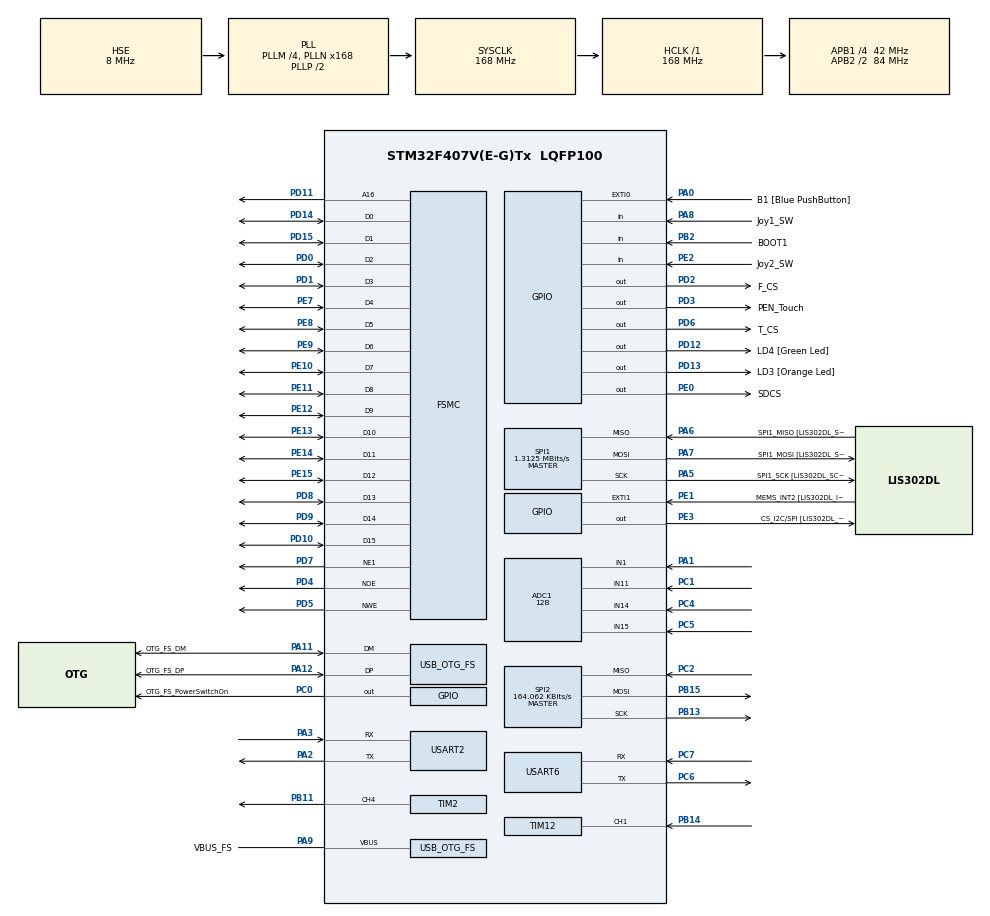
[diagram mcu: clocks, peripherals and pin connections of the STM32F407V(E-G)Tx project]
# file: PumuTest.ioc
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ADC1.Channel-0\#ChannelRegularConversion=ADC_CHANNEL_1
ADC1.Channel-1\#ChannelRegularConversion=ADC_CHANNEL_11
ADC1.Channel-2\#ChannelRegularConversion=ADC_CHANNEL_14
ADC1.Channel-3\#ChannelRegularConversion=ADC_CHANNEL_15
ADC1.ClockPrescaler=ADC_CLOCK_SYNC_PCLK_DIV4
ADC1.ContinuousConvMode=DISABLE
ADC1.DMAContinuousRequests=ENABLE
ADC1.DataAlign=ADC_DATAALIGN_RIGHT
ADC1.DiscontinuousConvMode=DISABLE
ADC1.EOCSelection=ADC_EOC_SEQ_CONV
ADC1.EnableAnalogWatchDog=false
ADC1.ExternalTrigConv=ADC_SOFTWARE_START
ADC1.ExternalTrigConvEdge=ADC_EXTERNALTRIGCONVEDGE_NONE
ADC1.InjNumberOfConversion=0
ADC1.NbrOfConversion=4
ADC1.NbrOfConversionFlag=1
ADC1.Rank-0\#ChannelRegularConversion=1
ADC1.Rank-1\#ChannelRegularConversion=2
ADC1.Rank-2\#ChannelRegularConversion=3
ADC1.Rank-3\#ChannelRegularConversion=4
ADC1.Resolution=ADC_RESOLUTION_12B
ADC1.SamplingTime-0\#ChannelRegularConversion=ADC_SAMPLETIME_3CYCLES
ADC1.SamplingTime-1\#ChannelRegularConversion=ADC_SAMPLETIME_3CYCLES
ADC1.SamplingTime-2\#ChannelRegularConversion=ADC_SAMPLETIME_3CYCLES
ADC1.SamplingTime-3\#ChannelRegularConversion=ADC_SAMPLETIME_3CYCLES
ADC1.ScanConvMode=ENABLE
ADC1.master=1
Dma.ADC1.0.Direction=DMA_PERIPH_TO_MEMORY
Dma.ADC1.0.FIFOMode=DMA_FIFOMODE_ENABLE
Dma.ADC1.0.FIFOThreshold=DMA_FIFO_THRESHOLD_HALFFULL
Dma.ADC1.0.Instance=DMA2_Stream0
Dma.ADC1.0.MemBurst=DMA_MBURST_SINGLE
Dma.ADC1.0.MemDataAlignment=DMA_MDATAALIGN_HALFWORD
Dma.ADC1.0.MemInc=DMA_MINC_ENABLE
Dma.ADC1.0.Mode=DMA_NORMAL
Dma.ADC1.0.PeriphBurst=DMA_PBURST_SINGLE
Dma.ADC1.0.PeriphDataAlignment=DMA_PDATAALIGN_HALFWORD
Dma.ADC1.0.PeriphInc=DMA_PINC_DISABLE
Dma.ADC1.0.Priority=DMA_PRIORITY_MEDIUM
Dma.Request0=ADC1
FATFS._MAX_SS=4096
FSMC.AddressSetupTime1=5
FSMC.BusTurnAroundDuration1=0
FSMC.DataSetupTime1=5
FSMC.ExtendedMode1=FSMC_EXTENDED_MODE_DISABLE
Mcu.Family=STM32F4
Mcu.Name=STM32F407V(E-G)Tx
Mcu.Package=LQFP100
NVIC.DMA2_Stream0_IRQn=true\:0\:0\:false\:false\:true\:false
NVIC.OTG_FS_IRQn=true\:0\:0\:false\:false\:true\:false
NVIC.PriorityGroup=NVIC_PRIORITYGROUP_1
NVIC.TIM3_IRQn=true\:1\:0\:true\:false\:true\:true
NVIC.TIM8_BRK_TIM12_IRQn=true\:0\:2\:true\:false\:true\:true
PA0-WKUP.GPIO_Label=B1 [Blue PushButton]
PA0-WKUP.GPIO_ModeDefaultEXTI=GPIO_MODE_EVT_RISING
PA0-WKUP.GPIO_PuPd=GPIO_NOPULL
PA0-WKUP.Signal=GPXTI0
PA1.Signal=ADCx_IN1
PA10.GPIO_Label=OTG_FS_ID
PA10.GPIO_Mode=GPIO_MODE_AF_PP
PA10.GPIO_PuPd=GPIO_NOPULL
PA10.GPIO_Speed=GPIO_SPEED_FREQ_LOW
PA10.Signal=USB_OTG_FS_ID
PA11.GPIO_Label=OTG_FS_DM
PA11.GPIO_Mode=GPIO_MODE_AF_PP
PA11.GPIO_PuPd=GPIO_NOPULL
PA11.GPIO_Speed=GPIO_SPEED_FREQ_LOW
PA11.Mode=Host_Only
PA11.Signal=USB_OTG_FS_DM
PA12.GPIO_Label=OTG_FS_DP
PA12.GPIO_Mode=GPIO_MODE_AF_PP
PA12.GPIO_PuPd=GPIO_NOPULL
PA12.GPIO_Speed=GPIO_SPEED_FREQ_LOW
PA12.Mode=Host_Only
PA12.Signal=USB_OTG_FS_DP
PA13.GPIO_Label=SWDIO
PA13.Signal=SYS_JTMS-SWDIO
PA14.GPIO_Label=SWCLK
PA14.Signal=SYS_JTCK-SWCLK
PA2.Mode=Asynchronous
PA2.Signal=USART2_TX
PA3.Mode=Asynchronous
PA3.Signal=USART2_RX
PA4.GPIO_Label=I2S3_WS [CS43L22_LRCK]
PA4.GPIO_Mode=GPIO_MODE_AF_PP
PA4.GPIO_PuPd=GPIO_NOPULL
PA4.GPIO_Speed=GPIO_SPEED_FREQ_LOW
PA4.Signal=I2S3_WS
PA5.GPIO_Label=SPI1_SCK [LIS302DL_SCL/SPC]
PA5.GPIO_Mode=GPIO_MODE_AF_PP
PA5.GPIO_PuPd=GPIO_NOPULL
PA5.GPIO_Speed=GPIO_SPEED_FREQ_LOW
PA5.Mode=Full_Duplex_Master
PA5.Signal=SPI1_SCK
PA6.GPIO_Label=SPI1_MISO [LIS302DL_SDO]
PA6.GPIO_Mode=GPIO_MODE_AF_PP
PA6.GPIO_PuPd=GPIO_NOPULL
PA6.GPIO_Speed=GPIO_SPEED_FREQ_LOW
PA6.Mode=Full_Duplex_Master
PA6.Signal=SPI1_MISO
PA7.GPIO_Label=SPI1_MOSI [LIS302DL_SDA/SDI/SDO]
PA7.GPIO_Mode=GPIO_MODE_AF_PP
PA7.GPIO_PuPd=GPIO_NOPULL
PA7.GPIO_Speed=GPIO_SPEED_FREQ_LOW
PA7.Mode=Full_Duplex_Master
PA7.Signal=SPI1_MOSI
PA8.GPIO_Label=Joy1_SW
PA8.Signal=GPIO_Input
PA9.GPIO_Label=VBUS_FS
PA9.GPIO_Mode=GPIO_MODE_INPUT
PA9.GPIO_PuPd=GPIO_NOPULL
PA9.Mode=Activate_VBUS
PA9.Signal=USB_OTG_FS_VBUS
PB10.GPIO_Label=CLK_IN [MP45DT02_CLK]
PB10.GPIO_Mode=GPIO_MODE_AF_PP
PB10.GPIO_PuPd=GPIO_NOPULL
PB10.GPIO_Speed=GPIO_SPEED_FREQ_LOW
PB10.Signal=I2S2_CK
PB11.GPIO_ModeDefaultPP=GPIO_MODE_AF_OD
PB11.GPIO_PuPd=GPIO_NOPULL
PB11.Signal=S_TIM2_CH4
PB13.Mode=Full_Duplex_Master
PB13.Signal=SPI2_SCK
PB14.Signal=S_TIM12_CH1
PB15.Mode=Full_Duplex_Master
PB15.Signal=SPI2_MOSI
PB2.GPIO_Label=BOOT1
PB2.GPIO_Mode=GPIO_MODE_INPUT
PB2.GPIO_PuPd=GPIO_NOPULL
PB2.Signal=GPIO_Input
PB3.GPIO_Label=SWO
PB3.Signal=SYS_JTDO-SWO
PB6.GPIO_Label=Audio_SCL [CS43L22_SCL]
PB6.GPIO_Mode=GPIO_MODE_AF_OD
PB6.GPIO_PuPd=GPIO_NOPULL
PB6.GPIO_Speed=GPIO_SPEED_FREQ_LOW
PB6.Signal=I2C1_SCL
PB9.GPIO_Label=Audio_SDA [CS43L22_SDA]
PB9.GPIO_Mode=GPIO_MODE_AF_OD
PB9.GPIO_PuPd=GPIO_NOPULL
PB9.GPIO_Speed=GPIO_SPEED_FREQ_LOW
PB9.Signal=I2C1_SDA
PC0.GPIO_Label=OTG_FS_PowerSwitchOn
PC0.GPIO_PuPd=GPIO_NOPULL
PC0.GPIO_Speed=GPIO_SPEED_FREQ_LOW
PC0.PinState=GPIO_PIN_RESET
PC0.Signal=GPIO_Output
PC1.Signal=ADCx_IN11
PC10.GPIO_Label=I2S3_SCK [CS43L22_SCLK]
PC10.GPIO_Mode=GPIO_MODE_AF_PP
PC10.GPIO_PuPd=GPIO_NOPULL
PC10.GPIO_Speed=GPIO_SPEED_FREQ_LOW
PC10.Signal=I2S3_CK
PC12.GPIO_Label=I2S3_SD [CS43L22_SDIN]
PC12.GPIO_Mode=GPIO_MODE_AF_PP
PC12.GPIO_PuPd=GPIO_NOPULL
PC12.GPIO_Speed=GPIO_SPEED_FREQ_LOW
PC12.Signal=I2S3_SD
PC14-OSC32_IN.GPIO_Label=PC14-OSC32_IN
PC14-OSC32_IN.Signal=RCC_OSC32_IN
PC15-OSC32_OUT.GPIO_Label=PC15-OSC32_OUT
PC15-OSC32_OUT.Signal=RCC_OSC32_OUT
PC2.Mode=Full_Duplex_Master
PC2.Signal=SPI2_MISO
PC3.GPIO_Label=PDM_OUT [MP45DT02_DOUT]
PC3.GPIO_Mode=GPIO_MODE_AF_PP
PC3.GPIO_PuPd=GPIO_NOPULL
PC3.GPIO_Speed=GPIO_SPEED_FREQ_LOW
PC3.Signal=I2S2_SD
PC4.Signal=ADCx_IN14
PC5.Signal=ADCx_IN15
PC6.Mode=Asynchronous
PC6.Signal=USART6_TX
PC7.Mode=Asynchronous
PC7.Signal=USART6_RX
PD0.GPIO_PuPd=GPIO_NOPULL
PD0.Mode=16b-d1
PD0.Signal=FSMC_D2
PD1.GPIO_PuPd=GPIO_NOPULL
PD1.Mode=16b-d1
PD1.Signal=FSMC_D3
PD10.GPIO_PuPd=GPIO_NOPULL
PD10.Mode=16b-d1
PD10.Signal=FSMC_D15
PD11.GPIO_PuPd=GPIO_NOPULL
PD11.Mode=A16_1
PD11.Signal=FSMC_A16
PD12.GPIO_Label=LD4 [Green Led]
PD12.GPIO_PuPd=GPIO_NOPULL
PD12.GPIO_Speed=GPIO_SPEED_FREQ_LOW
PD12.Signal=GPIO_Output
PD13.GPIO_Label=LD3 [Orange Led]
PD13.GPIO_PuPd=GPIO_NOPULL
PD13.GPIO_Speed=GPIO_SPEED_FREQ_LOW
PD13.Signal=GPIO_Output
PD14.GPIO_PuPd=GPIO_NOPULL
PD14.Mode=16b-d1
PD14.Signal=FSMC_D0
PD15.GPIO_PuPd=GPIO_NOPULL
PD15.Mode=16b-d1
PD15.Signal=FSMC_D1
PD2.GPIO_Label=F_CS
PD2.Signal=GPIO_Output
PD3.GPIO_Label=PEN_Touch
PD3.Signal=GPIO_Output
PD4.GPIO_PuPd=GPIO_NOPULL
PD4.Mode=Lcd1
PD4.Signal=FSMC_NOE
PD5.GPIO_PuPd=GPIO_NOPULL
PD5.Mode=Lcd1
PD5.Signal=FSMC_NWE
PD6.GPIO_Label=T_CS
PD6.Signal=GPIO_Output
PD7.GPIO_PuPd=GPIO_NOPULL
PD7.Mode=NorPsramChipSelect1_1
PD7.Signal=FSMC_NE1
PD8.GPIO_PuPd=GPIO_NOPULL
PD8.Mode=16b-d1
PD8.Signal=FSMC_D13
PD9.GPIO_PuPd=GPIO_NOPULL
PD9.Mode=16b-d1
PD9.Signal=FSMC_D14
PE0.GPIO_Label=SDCS
PE0.Signal=GPIO_Output
PE1.GPIO_Label=MEMS_INT2 [LIS302DL_INT2]
PE1.GPIO_ModeDefaultEXTI=GPIO_MODE_EVT_RISING
PE1.GPIO_PuPd=GPIO_NOPULL
PE1.Signal=GPXTI1
PE10.GPIO_PuPd=GPIO_NOPULL
PE10.Mode=16b-d1
PE10.Signal=FSMC_D7
PE11.GPIO_PuPd=GPIO_NOPULL
PE11.Mode=16b-d1
PE11.Signal=FSMC_D8
PE12.GPIO_PuPd=GPIO_NOPULL
PE12.Mode=16b-d1
PE12.Signal=FSMC_D9
PE13.GPIO_PuPd=GPIO_NOPULL
PE13.Mode=16b-d1
PE13.Signal=FSMC_D10
PE14.GPIO_PuPd=GPIO_NOPULL
PE14.Mode=16b-d1
PE14.Signal=FSMC_D11
PE15.GPIO_PuPd=GPIO_NOPULL
PE15.Mode=16b-d1
PE15.Signal=FSMC_D12
PE2.GPIO_Label=Joy2_SW
PE2.Signal=GPIO_Input
PE3.GPIO_Label=CS_I2C/SPI [LIS302DL_CS_I2C/SPI]
PE3.GPIO_PuPd=GPIO_NOPULL
PE3.GPIO_Speed=GPIO_SPEED_FREQ_LOW
PE3.Signal=GPIO_Output
PE7.GPIO_PuPd=GPIO_NOPULL
PE7.Mode=16b-d1
PE7.Signal=FSMC_D4
PE8.GPIO_PuPd=GPIO_NOPULL
PE8.Mode=16b-d1
PE8.Signal=FSMC_D5
PE9.GPIO_PuPd=GPIO_NOPULL
PE9.Mode=16b-d1
PE9.Signal=FSMC_D6
PH0-OSC_IN.GPIO_Label=PH0-OSC_IN
PH0-OSC_IN.Mode=HSE-External-Oscillator
PH0-OSC_IN.Signal=RCC_OSC_IN
PH1-OSC_OUT.GPIO_Label=PH1-OSC_OUT
PH1-OSC_OUT.Mode=HSE-External-Oscillator
PH1-OSC_OUT.Signal=RCC_OSC_OUT
ProjectManager.HeapSize=0x200
ProjectManager.StackSize=0x400
ProjectManager.TargetToolchain=SW4STM32
RCC.48MHZClocksFreq_Value=48000000
RCC.AHBFreq_Value=168000000
RCC.APB1CLKDivider=RCC_HCLK_DIV4
RCC.APB1Freq_Value=42000000
RCC.APB1TimFreq_Value=84000000
RCC.APB2CLKDivider=RCC_HCLK_DIV2
RCC.APB2Freq_Value=84000000
RCC.APB2TimFreq_Value=168000000
RCC.CortexFreq_Value=168000000
RCC.HCLKFreq_Value=168000000
RCC.HSE_VALUE=8000000
RCC.HSI_VALUE=16000000
RCC.LSE_VALUE=32768
RCC.PLLM=4
RCC.PLLN=168
RCC.PLLQ=7
RCC.SYSCLKFreq_VALUE=168000000
RCC.SYSCLKSource=RCC_SYSCLKSOURCE_PLLCLK
RCC.VCOOutputFreq_Value=336000000
SH.ADCx_IN1.0=ADC1_IN1,IN1
SH.ADCx_IN11.0=ADC1_IN11,IN11
SH.ADCx_IN14.0=ADC1_IN14,IN14
SH.ADCx_IN15.0=ADC1_IN15,IN15
SH.S_TIM12_CH1.0=TIM12_CH1,PWM_Input_1
SH.S_TIM2_CH4.0=TIM2_CH4,PWM Generation4 CH4
SPI1.BaudRatePrescaler=SPI_BAUDRATEPRESCALER_64
SPI1.CalculateBaudRate=1.3125 MBits/s
SPI1.Direction=SPI_DIRECTION_2LINES
SPI1.Mode=SPI_MODE_MASTER
SPI1.VirtualType=VM_MASTER
SPI2.BaudRatePrescaler=SPI_BAUDRATEPRESCALER_256
SPI2.CalculateBaudRate=164.062 KBits/s
SPI2.Direction=SPI_DIRECTION_2LINES
SPI2.Mode=SPI_MODE_MASTER
SPI2.VirtualType=VM_MASTER
TIM12.Period=24999
TIM12.Prescaler=83
TIM2.Channel-PWM\ Generation4\ CH4=TIM_CHANNEL_4
TIM2.Period=24999
TIM2.Prescaler=83
TIM2.Pulse-PWM\ Generation4\ CH4=10
TIM3.Period=999
TIM3.Prescaler=839
USART2.Parity=PARITY_EVEN
USART2.VirtualMode=VM_ASYNC
USART2.WordLength=WORDLENGTH_9B
USART6.VirtualMode=VM_ASYNC
USB_HOST.USBH_HandleTypeDef-MSC_FS=hUsbHostFS
USB_HOST.VirtualModeFS=Msc
USB_OTG_FS.VirtualMode=Host_Only
USB_OTG_FS.phy_itface=HCD_PHY_EMBEDDED
VP_FATFS_VS_USB.Mode=USB
VP_RNG_VS_RNG.Mode=RNG_Activate
VP_TIM3_VS_ClockSourceINT.Mode=Internal
VP_USB_HOST_VS_USB_HOST_MSC_FS.Mode=MSC_FS
board=STM32F4DISCOVERY

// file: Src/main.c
/**
  ******************************************************************************
  * @file           : main.c
  * @brief          : Main program body
  ******************************************************************************
  * This notice applies to any and all portions of this file
  * that are not between comment pairs USER CODE BEGIN and
  * USER CODE END. Other portions of this file, whether
  * inserted by the user or by software development tools
  * are owned by their respective copyright owners.
  *
  * Copyright (c) 2018 STMicroelectronics International N.V.
  * All rights reserved.
  *
  * Redistribution and use in source and binary forms, with or without
  * modification, are permitted, provided that the following conditions are met:
  *
  * 1. Redistribution of source code must retain the above copyright notice,
  *    this list of conditions and the following disclaimer.
  * 2. Redistributions in binary form must reproduce the above copyright notice,
  *    this list of conditions and the following disclaimer in the documentation
  *    and/or other materials provided with the distribution.
  * 3. Neither the name of STMicroelectronics nor the names of other
  *    contributors to this software may be used to endorse or promote products
  *    derived from this software without specific written permission.
  * 4. This software, including modifications and/or derivative works of this
  *    software, must execute solely and exclusively on microcontroller or
  *    microprocessor devices manufactured by or for STMicroelectronics.
  * 5. Redistribution and use of this software other than as permitted under
  *    this license is void and will automatically terminate your rights under
  *    this license.
  *
  * THIS SOFTWARE IS PROVIDED BY STMICROELECTRONICS AND CONTRIBUTORS "AS IS"
  * AND ANY EXPRESS, IMPLIED OR STATUTORY WARRANTIES, INCLUDING, BUT NOT
  * LIMITED TO, THE IMPLIED WARRANTIES OF MERCHANTABILITY, FITNESS FOR A
  * PARTICULAR PURPOSE AND NON-INFRINGEMENT OF THIRD PARTY INTELLECTUAL PROPERTY
  * RIGHTS ARE DISCLAIMED TO THE FULLEST EXTENT PERMITTED BY LAW. IN NO EVENT
  * SHALL STMICROELECTRONICS OR CONTRIBUTORS BE LIABLE FOR ANY DIRECT, INDIRECT,
  * INCIDENTAL, SPECIAL, EXEMPLARY, OR CONSEQUENTIAL DAMAGES (INCLUDING, BUT NOT
  * LIMITED TO, PROCUREMENT OF SUBSTITUTE GOODS OR SERVICES; LOSS OF USE, DATA,
  * OR PROFITS; OR BUSINESS INTERRUPTION) HOWEVER CAUSED AND ON ANY THEORY OF
  * LIABILITY, WHETHER IN CONTRACT, STRICT LIABILITY, OR TORT (INCLUDING
  * NEGLIGENCE OR OTHERWISE) ARISING IN ANY WAY OUT OF THE USE OF THIS SOFTWARE,
  * EVEN IF ADVISED OF THE POSSIBILITY OF SUCH DAMAGE.
  *
  ******************************************************************************
  */
#include "main.h"
#include "stm32f4xx_hal.h"
#include "adc.h"
#include "dma.h"
#include "fatfs.h"
#include "rng.h"
#include "spi.h"
#include "tim.h"
#include "usart.h"
#include "usb_host.h"
#include "gpio.h"
#include "fsmc.h"

/* USER CODE BEGIN Includes */
#include "ili9341.h"
#include "math.h"
#include "asteroids.h"
#include "lis3.h"

/* USER CODE END Includes */

/* USER CODE BEGIN PV */
/* Private variables ---------------------------------------------------------*/
volatile uint16_t ADC_Data[4];
volatile float cReal = 0;
volatile float cImag = 0;
volatile float zoom = 100;
volatile float xOffset = 0;
volatile float yOffset = 0;
volatile uint16_t colorX = 0;
volatile uint16_t colorY = 0;
volatile uint16_t color = 0xFFFF;
volatile uint16_t colorLines = 0xFFFF;
volatile uint8_t  zeroBit = 0;
volatile uint8_t modeJoy2 = 0;
volatile uint8_t modeJoy1 = 0;
volatile uint8_t modeSwitchFlag = 1;
volatile uint8_t colorSwitchFlag = 1;
volatile uint8_t juliaSwitchFlag = 1;
volatile uint32_t tim3Counter = 0;

volatile uint16_t FpsCountner = 0;
volatile uint16_t FpsReal = 0;

extern USBH_HandleTypeDef hUsbHostFS;
extern ApplicationTypeDef Appli_state;
FATFS USBDISKFatFs;
FIL MyFile;
/* USER CODE END PV */

void SystemClock_Config(void);
void MX_USB_HOST_Process(void);

/* USER CODE BEGIN PFP */
/* Private function prototypes -----------------------------------------------*/

/* USER CODE END PFP */

/* USER CODE BEGIN 0 */

void FileReadWrite(void)
{
	FRESULT res;
	uint32_t byteswritten, bytesread;
	uint8_t r_text[100];
	if(f_mount(&USBDISKFatFs, (TCHAR const*) USBHPath, 0) != FR_OK)
    {
      LCD_DisplayStringLine(0, 30, "USB Ошибка подключения!");
	 // Error_Handler();
    }
	else
	{

		DIR dir;
		uint8_t i = 30;
		static FILINFO fno;
		res = f_opendir(&dir, (TCHAR const*) USBHPath);
		if (res == FR_OK)
		{
			while(1)
			{
				res = f_readdir(&dir, &fno);
				if (res != FR_OK || fno.fname[0] == 0) break;
				LCD_DisplayStringLine(0, i, fno.fname);
				i+=15;
			}
			f_closedir(&dir);
		}
       /*
	   res = f_open(&MyFile, "123.txt", FA_READ);
	   if(res != FR_OK)
	   {
		   LCD_DisplayStringLine(0, 50, "ERROR File Open!", 40);
		 //Error_Handler();
	   }
	   else
	   {
		 LCD_DisplayStringLine(0, 50, "File Open!", 40);
		 res = f_read(&MyFile,r_text,sizeof(r_text),(void*)&bytesread);
		 if((bytesread==0)||(res!=FR_OK))
		 {
			 LCD_DisplayStringLine(0, 70, "File Bad Data!", 40);
		 }
		 else
		 {
		   r_text[bytesread]=0;//обнулим байт, следующий за последним
		   LCD_DisplayStringLine(0, 70, (char*) r_text, 100);
		   f_close(&MyFile);
		 }

	   }
	   LCD_DisplayStringLine(0, 30, "USB подключен!", 40);*/
	}

}

void HAL_TIM_PeriodElapsedCallback(TIM_HandleTypeDef *htim)
{
  static uint16_t Joy1_ButtonState = 0;
  static uint16_t Joy2_ButtonState = 0;
  static uint16_t secondCountner = 0;

  if(htim->Instance == htim3.Instance)
  {
    HAL_ADC_Start_DMA(&hadc1, (uint32_t*) ADC_Data,4);
    int16_t dx;
    int16_t dy;

    Joy1_ButtonState <<=1 ;
    Joy1_ButtonState += HAL_GPIO_ReadPin(Joy1_SW_GPIO_Port, Joy1_SW_Pin);
    if((Joy1_ButtonState & 0x03FF) == 0x0200)
    {
      //Нажалась кнопка
      modeJoy2++;
      if(modeJoy2>5) modeJoy2 = 0;
      modeSwitchFlag = 1;
      juliaSwitchFlag = 1;

    }

     switch (modeJoy2) {
       case 0:
         dx = (ADC_Data[2] - 2048) /256;
         dy = (ADC_Data[3] - 2048) /256;
         cReal += dx/4096.0f/4;
         cImag += dy/4096.0f/4;
           if(dx != 0 || dy != 0)
             juliaSwitchFlag = 1;
         break;
       case 1:
         if(!(tim3Counter & 0x03))
         {
           dx = (ADC_Data[2] - 2048) /256;
           dy = (ADC_Data[3] - 2048) /256;

           colorX -= dx;
           if(colorX>LCD_TFTWIDTH + 10) colorX = 0;
           else if(colorX>LCD_TFTWIDTH-1 ) colorX = LCD_TFTWIDTH - 1;

           colorY += dy;
           if(colorY < 24) colorY = 24;
           else if(colorY>LCD_TFTHEIGHT - 1) colorY = LCD_TFTHEIGHT - 1;

           if(dx != 0 || dy != 0)
             colorSwitchFlag = 1;
       //  color = xy2rgb(((float)ADC_Data[2] - 2048)/2048, ((float)ADC_Data[3] - 2048)/2048);
         }
         break;

     }

    Joy2_ButtonState <<= 1;
    Joy2_ButtonState += HAL_GPIO_ReadPin(Joy2_SW_GPIO_Port, Joy2_SW_Pin);
    if((Joy2_ButtonState & 0x03FF) == 0x0200)
    {
      //Нажалась кнопка
      modeJoy1++;
      if(modeJoy1>1) modeJoy1 = 0;
      modeSwitchFlag = 1;
      juliaSwitchFlag = 1;

      if(modeJoy2 == 3)
      {
    	  zeroBit++;
		  if(zeroBit == 16) zeroBit = 0;
    	  colorLines = 0xFFFF & (~(1 << zeroBit));
      }
    }

    switch (modeJoy1) {

      case 0:
        dx = (ADC_Data[0] - 2048) /256;

        zoom *= 1.0f - dx/1024.0f;
          if(dx != 0 )
            juliaSwitchFlag = 1;
        break;
      case 1:
        dx = (ADC_Data[1] - 2048) /256;
        dy = (ADC_Data[0] - 2048) /256;
        xOffset -= dx/4.0f/zoom;
        yOffset += dy/4.0f/zoom;
        if(dx != 0 || dy != 0)
          juliaSwitchFlag = 1;
        break;
    }

    secondCountner++;
    if(secondCountner == 100) {
      secondCountner = 0;
      FpsReal = FpsCountner;
      FpsCountner = 0;
    }
    tim3Counter++;
  }
}
uint16_t tim4_counter = 0;
void HAL_TIM_IC_CaptureCallback(TIM_HandleTypeDef *htim)
{
	if(htim->Instance == htim12.Instance)
	{
		tim4_counter = htim12.Instance->CCR2;
	}
}

/* USER CODE END 0 */

int main(void)
{

  /* MCU Configuration----------------------------------------------------------*/

  /* Reset of all peripherals, Initializes the Flash interface and the Systick. */
  HAL_Init();

  /* Configure the system clock */
  SystemClock_Config();

  /* Initialize all configured peripherals */
  MX_GPIO_Init();
  MX_DMA_Init();
  MX_USART2_UART_Init();
  MX_ADC1_Init();
  MX_FSMC_Init();
  MX_SPI2_Init();
  MX_TIM3_Init();
  MX_USB_HOST_Init();
  MX_FATFS_Init();
  MX_USART6_UART_Init();
  MX_TIM2_Init();
  MX_TIM12_Init();
  MX_SPI1_Init();
  MX_RNG_Init();

  /* Infinite loop */
  /* USER CODE BEGIN WHILE */
  char joy_data_string[100];

  HAL_ADC_Start_DMA(&hadc1,(uint32_t*) ADC_Data,4);

  LCD_Init();

  HAL_Delay(100);

  LCD_SetTextColor(YELLOW);

  LCD_FillScreen(RED);
  HAL_TIM_Base_Start(&htim3);
  HAL_NVIC_SetPriority(TIM3_IRQn, 2, 1);
  HAL_NVIC_EnableIRQ(TIM3_IRQn);
  HAL_TIM_Base_Start_IT(&htim3);

  HAL_TIM_Base_Start_IT(&htim12);
  HAL_TIM_PWM_Start(&htim2, TIM_CHANNEL_4);
  HAL_TIM_IC_Start_IT(&htim12, TIM_CHANNEL_1);
  HAL_TIM_IC_Start_IT(&htim12, TIM_CHANNEL_2);

  char message[70] = "";
  uint16_t oldColorX = 0, oldColorY = 0;
  while (1)
  {

  /* USER CODE END WHILE */
    MX_USB_HOST_Process();

  /* USER CODE BEGIN 3 */

    FpsCountner++;

    if(modeJoy2 == 1)
    {
      if(colorSwitchFlag)
      {

     //    LCD_DrawPixel(oldColorX, oldColorY, color);
     //    color = xy2rgb(((float)colorX - LCD_TFTWIDTH/2.0f)/(LCD_TFTWIDTH)*2.0f, ((float)colorY - 24 - (LCD_TFTHEIGHT-24)/2.0f)/(LCD_TFTHEIGHT-24)*2.0f);

     //    LCD_DrawRect(300,14,10,10,color);

        // LCD_DrawPixel(colorX, colorY, BLACK);
         color = LCD_DrawColorPipet(colorX, colorY, oldColorX, oldColorY);
         oldColorX = colorX;
         oldColorY = colorY;
         uint16_t r = color >> 11;
         uint16_t g = (color >> 5) & 0x3F;
         uint16_t b = color & 0x1F;

         sprintf(joy_data_string, "(%4u;%4u) (%2u;%2u;%2u) FPS %3d;", colorX, colorY, r,g,b, FpsReal);
         LCD_DisplayStringLine(0, 0, joy_data_string);

         colorSwitchFlag = 0;

         //TEST ZONE

         //END TEST ZONE

      }
      switch (modeJoy1) {
        case 0:
          LCD_DisplayStringLine(0, 13, "Джойстик 1: Масштаб");
          break;
        case 1:
          LCD_DisplayStringLine(0, 13, "Джойстик 1: Перемещение");
          break;
      }

    }
    else if(modeJoy2 == 0)
    {
      if(juliaSwitchFlag)
      {
        LCD_GenerateJuliaFpu(xOffset, yOffset, zoom, cReal, cImag, color);
        juliaSwitchFlag = 0;
      }
      sprintf(joy_data_string, "Центр (%5.4f; %5.4f); с (%5.4f; %5.4fi); Zoom %5.2f; FPS %3d;", xOffset, yOffset, cReal, cImag, zoom, FpsReal);

      LCD_DisplayStringLine(0, 0, joy_data_string);

      HAL_UART_Transmit(&huart2, (uint8_t*)joy_data_string, 70, 100);
      HAL_UART_Transmit(&huart2, (uint8_t*)"\r\n", 5, 100);

      float distance = (float)(tim4_counter)/2.0f/29.1f;
	  sprintf (message, "Дальнометр: %8d мм", (uint16_t)((tim4_counter)/2.0f/29.1f*10));

      LCD_DisplayStringLine(0, 26, message);
    }
    else if(modeJoy2 == 3)
    {

    	sprintf (message, "FPS: %d bit: %d", FpsReal, zeroBit);
    	LCD_DisplayStringLine(0, 13, message);

    	LCD_SetRecordingArea(0, 32, LCD_TFTWIDTH, LCD_TFTHEIGHT - 32);
		LCD_WriteCommand(LCD_MEMORYWRITE);
		for(uint16_t y = 32; y < LCD_TFTHEIGHT; y++)
		for(uint16_t x = 0; x < LCD_TFTWIDTH; x++)
		{
			uint16_t color = (x+tim3Counter/2) % (4+(y-20)/8) ? BLACK: colorLines;
			//LCD_DrawPixel(x,y,color);
			LCD_WriteData(color);
		}

    }
    else if(modeJoy2 == 4)
    {

        set_input(ADC_Data[1], ADC_Data[0], ADC_Data[2], ADC_Data[3]);

        asteroids_game_draw();
    }
    else if(modeJoy2 == 5)
    {

        int16_t lis3_x = LIS3_ReadX();
        int16_t lis3_y = LIS3_ReadY();
        int16_t lis3_z = LIS3_ReadZ();

        sprintf(message,"X: %6d", lis3_x);
        LCD_DisplayStringLine(0, 52, message);
        sprintf(message,"Y: %6d", lis3_y);
        LCD_DisplayStringLine(0, 65, message);
        sprintf(message,"Z: %6d", lis3_z);
        LCD_DisplayStringLine(0, 78, message);
        sprintf(message,"FPS: %3d", FpsReal);
        LCD_DisplayStringLine(0, 91, message);

        static uint16_t x_old = 0, y_old = 0;
        LCD_DrawLine(LCD_TFTWIDTH/2, LCD_TFTHEIGHT/2, x_old, y_old, BLACK);

        uint16_t lcd_x = LCD_TFTWIDTH/2 + lis3_y/170;
        uint16_t lcd_y = LCD_TFTHEIGHT/2 + lis3_x/170;
        LCD_DrawLine(LCD_TFTWIDTH/2, LCD_TFTHEIGHT/2, lcd_x, lcd_y, WHITE);
        x_old = lcd_x;
        y_old = lcd_y;
    }

    if( modeSwitchFlag == 1)
    {
      LCD_DrawRect(0,13, LCD_TFTWIDTH, 13, BLACK);
      switch (modeJoy2) {
        case 0:
          LCD_DisplayStringLine(160, 13, "Джойстик 2: Константа");
          break;
        case 1:
          LCD_DisplayStringLine(160, 13, "Джойстик 2: Цвет");

          LCD_SetRecordingArea(0, 24, LCD_TFTWIDTH, LCD_TFTHEIGHT - 24);
          LCD_WriteCommand(LCD_MEMORYWRITE);
          for(uint16_t y = 24; y < LCD_TFTHEIGHT; y++)
          for(uint16_t x = 0; x < LCD_TFTWIDTH; x++)
          {
            uint16_t color = xy2rgb(((float)x - LCD_TFTWIDTH/2.0f)/(LCD_TFTWIDTH)*2.0f, ((float)y - 24 - (LCD_TFTHEIGHT-24)/2.0f)/(LCD_TFTHEIGHT-24)*2.0f);
            LCD_WriteData(color);
          }

          break;
        case 2:
		  if(Appli_state == APPLICATION_START)
		  {
		 	FileReadWrite();
			Appli_state = APPLICATION_IDLE;
		  }
		  else if(Appli_state == APPLICATION_IDLE)
		  {

		  }
          break;
        case 4:
          LCD_FillScreen(BLACK);
          break;
        case 5:
          LCD_FillScreen(BLACK);
          LIS3_Init();

          uint8_t lis3_who_am_i = LIS3_ReadReg(LIS3_ADDR_WHO_AM_I);
          uint8_t lis3_info1 = LIS3_ReadReg(LIS3_ADDR_INFO1);
          uint8_t lis3_info2 = LIS3_ReadReg(LIS3_ADDR_INFO2);

          LCD_DisplayStringLine(0, 0, "LIS3 Registers:");
          sprintf(message,"Who am I: 0x%2.2X", lis3_who_am_i);
          LCD_DisplayStringLine(0, 13, message);
          sprintf(message,"INFO1: 0x%2.2X", lis3_info1);
          LCD_DisplayStringLine(0, 26, message);
          sprintf(message,"INFO2: 0x%2.2X", lis3_info2);
          LCD_DisplayStringLine(0, 39, message);
          break;
      }

      modeSwitchFlag = 0;
    }

    HAL_Delay(10);

    //HAL_UART_Transmit(&huart2, joy_data_string, 30, 100);

  }
  /* USER CODE END 3 */

}

void SystemClock_Config(void)
{

  RCC_OscInitTypeDef RCC_OscInitStruct;
  RCC_ClkInitTypeDef RCC_ClkInitStruct;

    /**Configure the main internal regulator output voltage
    */
  __HAL_RCC_PWR_CLK_ENABLE();

  __HAL_PWR_VOLTAGESCALING_CONFIG(PWR_REGULATOR_VOLTAGE_SCALE1);

    /**Initializes the CPU, AHB and APB busses clocks
    */
  RCC_OscInitStruct.OscillatorType = RCC_OSCILLATORTYPE_HSE;
  RCC_OscInitStruct.HSEState = RCC_HSE_ON;
  RCC_OscInitStruct.PLL.PLLState = RCC_PLL_ON;
  RCC_OscInitStruct.PLL.PLLSource = RCC_PLLSOURCE_HSE;
  RCC_OscInitStruct.PLL.PLLM = 4;
  RCC_OscInitStruct.PLL.PLLN = 168;
  RCC_OscInitStruct.PLL.PLLP = RCC_PLLP_DIV2;
  RCC_OscInitStruct.PLL.PLLQ = 7;
  if (HAL_RCC_OscConfig(&RCC_OscInitStruct) != HAL_OK)
  {
    _Error_Handler(__FILE__, __LINE__);
  }

    /**Initializes the CPU, AHB and APB busses clocks
    */
  RCC_ClkInitStruct.ClockType = RCC_CLOCKTYPE_HCLK|RCC_CLOCKTYPE_SYSCLK
                              |RCC_CLOCKTYPE_PCLK1|RCC_CLOCKTYPE_PCLK2;
  RCC_ClkInitStruct.SYSCLKSource = RCC_SYSCLKSOURCE_PLLCLK;
  RCC_ClkInitStruct.AHBCLKDivider = RCC_SYSCLK_DIV1;
  RCC_ClkInitStruct.APB1CLKDivider = RCC_HCLK_DIV4;
  RCC_ClkInitStruct.APB2CLKDivider = RCC_HCLK_DIV2;

  if (HAL_RCC_ClockConfig(&RCC_ClkInitStruct, FLASH_LATENCY_5) != HAL_OK)
  {
    _Error_Handler(__FILE__, __LINE__);
  }

    /**Configure the Systick interrupt time
    */
  HAL_SYSTICK_Config(HAL_RCC_GetHCLKFreq()/1000);

    /**Configure the Systick
    */
  HAL_SYSTICK_CLKSourceConfig(SYSTICK_CLKSOURCE_HCLK);

  /* SysTick_IRQn interrupt configuration */
  HAL_NVIC_SetPriority(SysTick_IRQn, 0, 0);
}

void _Error_Handler(char *file, int line)
{
  while(1)
  {
  }
}

/************************ (C) COPYRIGHT STMicroelectronics *****END OF FILE****/
